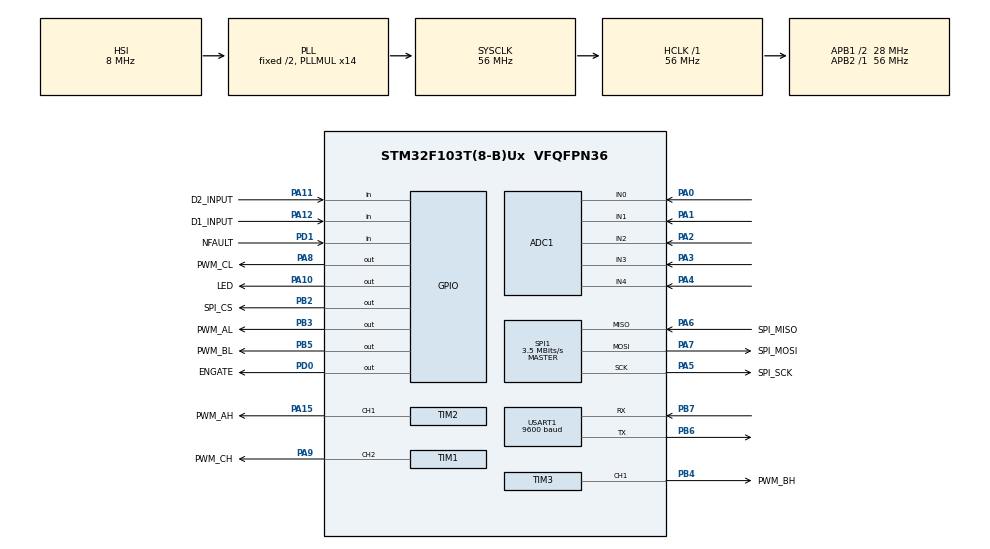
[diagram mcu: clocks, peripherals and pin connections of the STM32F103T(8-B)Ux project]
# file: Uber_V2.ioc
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ADC1.Channel-0\#ChannelRegularConversion=ADC_CHANNEL_4
ADC1.Channel-4\#ChannelRegularConversion=ADC_CHANNEL_3
ADC1.Channel-5\#ChannelRegularConversion=ADC_CHANNEL_2
ADC1.Channel-6\#ChannelRegularConversion=ADC_CHANNEL_1
ADC1.ContinuousConvMode=DISABLE
ADC1.ExternalTrigConv=ADC_EXTERNALTRIGCONV_T1_CC3
ADC1.NbrOfConversion=4
ADC1.NbrOfConversionFlag=1
ADC1.Rank-0\#ChannelRegularConversion=1
ADC1.Rank-4\#ChannelRegularConversion=2
ADC1.Rank-5\#ChannelRegularConversion=3
ADC1.Rank-6\#ChannelRegularConversion=4
ADC1.SamplingTime-0\#ChannelRegularConversion=ADC_SAMPLETIME_1CYCLE_5
ADC1.SamplingTime-4\#ChannelRegularConversion=ADC_SAMPLETIME_1CYCLE_5
ADC1.SamplingTime-5\#ChannelRegularConversion=ADC_SAMPLETIME_1CYCLE_5
ADC1.SamplingTime-6\#ChannelRegularConversion=ADC_SAMPLETIME_1CYCLE_5
ADC1.master=1
Dma.ADC1.0.Direction=DMA_PERIPH_TO_MEMORY
Dma.ADC1.0.Instance=DMA1_Channel1
Dma.ADC1.0.MemDataAlignment=DMA_MDATAALIGN_HALFWORD
Dma.ADC1.0.MemInc=DMA_MINC_ENABLE
Dma.ADC1.0.Mode=DMA_CIRCULAR
Dma.ADC1.0.PeriphDataAlignment=DMA_PDATAALIGN_HALFWORD
Dma.ADC1.0.PeriphInc=DMA_PINC_DISABLE
Dma.ADC1.0.Priority=DMA_PRIORITY_LOW
Dma.Request0=ADC1
Dma.Request1=USART1_RX
Dma.Request2=USART1_TX
Dma.USART1_RX.1.Direction=DMA_PERIPH_TO_MEMORY
Dma.USART1_RX.1.Instance=DMA1_Channel5
Dma.USART1_RX.1.MemDataAlignment=DMA_MDATAALIGN_BYTE
Dma.USART1_RX.1.MemInc=DMA_MINC_ENABLE
Dma.USART1_RX.1.Mode=DMA_NORMAL
Dma.USART1_RX.1.PeriphDataAlignment=DMA_PDATAALIGN_BYTE
Dma.USART1_RX.1.PeriphInc=DMA_PINC_DISABLE
Dma.USART1_RX.1.Priority=DMA_PRIORITY_LOW
Dma.USART1_TX.2.Direction=DMA_MEMORY_TO_PERIPH
Dma.USART1_TX.2.Instance=DMA1_Channel4
Dma.USART1_TX.2.MemDataAlignment=DMA_MDATAALIGN_BYTE
Dma.USART1_TX.2.MemInc=DMA_MINC_ENABLE
Dma.USART1_TX.2.Mode=DMA_NORMAL
Dma.USART1_TX.2.PeriphDataAlignment=DMA_PDATAALIGN_BYTE
Dma.USART1_TX.2.PeriphInc=DMA_PINC_DISABLE
Dma.USART1_TX.2.Priority=DMA_PRIORITY_LOW
Mcu.Family=STM32F1
Mcu.Name=STM32F103T(8-B)Ux
Mcu.Package=VFQFPN36
Mcu.UserConstants=PWM_PRESC,5-1;PWM_PERIOD,128
NVIC.DMA1_Channel1_IRQn=true\:0\:0\:false\:false\:true\:false\:true
NVIC.DMA1_Channel4_IRQn=true\:0\:0\:false\:false\:true\:false\:true
NVIC.DMA1_Channel5_IRQn=true\:0\:0\:false\:false\:true\:false\:true
NVIC.PriorityGroup=NVIC_PRIORITYGROUP_4
NVIC.TIM1_UP_IRQn=true\:0\:0\:false\:false\:true\:true\:true
NVIC.USART1_IRQn=true\:0\:0\:false\:false\:true\:true\:true
PA0-WKUP.Signal=ADCx_IN0
PA1.Signal=ADCx_IN1
PA10.GPIO_Label=LED
PA10.Signal=GPIO_Output
PA11.GPIO_Label=D2_INPUT
PA11.Signal=GPIO_Input
PA12.GPIO_Label=D1_INPUT
PA12.Signal=GPIO_Input
PA13.Mode=Serial_Wire
PA13.Signal=SYS_JTMS-SWDIO
PA14.Mode=Serial_Wire
PA14.Signal=SYS_JTCK-SWCLK
PA15.GPIO_Label=PWM_AH
PA15.Signal=S_TIM2_CH1_ETR
PA2.Signal=ADCx_IN2
PA3.Signal=ADCx_IN3
PA4.Signal=ADCx_IN4
PA5.GPIO_Label=SPI_SCK
PA5.Mode=Full_Duplex_Master
PA5.Signal=SPI1_SCK
PA6.GPIO_Label=SPI_MISO
PA6.Mode=Full_Duplex_Master
PA6.Signal=SPI1_MISO
PA7.GPIO_Label=SPI_MOSI
PA7.Mode=Full_Duplex_Master
PA7.Signal=SPI1_MOSI
PA8.GPIO_Label=PWM_CL
PA8.Signal=GPIO_Output
PA9.GPIO_Label=PWM_CH
PA9.Signal=S_TIM1_CH2
PB2.GPIO_Label=SPI_CS
PB2.Signal=GPIO_Output
PB3.GPIO_Label=PWM_AL
PB3.Signal=GPIO_Output
PB4.GPIO_Label=PWM_BH
PB4.Signal=S_TIM3_CH1
PB5.GPIO_Label=PWM_BL
PB5.Signal=GPIO_Output
PB6.Mode=Asynchronous
PB6.Signal=USART1_TX
PB7.Mode=Asynchronous
PB7.Signal=USART1_RX
PD0-OSC_IN.GPIO_Label=ENGATE
PD0-OSC_IN.Signal=GPIO_Output
PD1-OSC_OUT.GPIO_Label=NFAULT
PD1-OSC_OUT.Signal=GPIO_Input
ProjectManager.HeapSize=0x200
ProjectManager.StackSize=0x400
ProjectManager.TargetToolchain=STM32CubeIDE
RCC.ADCPresc=RCC_ADCPCLK2_DIV4
RCC.AHBFreq_Value=56000000
RCC.APB1CLKDivider=RCC_HCLK_DIV2
RCC.APB1Freq_Value=28000000
RCC.APB1TimFreq_Value=56000000
RCC.APB2Freq_Value=56000000
RCC.APB2TimFreq_Value=56000000
RCC.HCLKFreq_Value=56000000
RCC.PLLMUL=RCC_PLL_MUL14
RCC.SYSCLKFreq_VALUE=56000000
RCC.SYSCLKSource=RCC_SYSCLKSOURCE_PLLCLK
RCC.USBFreq_Value=56000000
SH.ADCx_IN0.0=ADC1_IN0,IN0
SH.ADCx_IN1.0=ADC1_IN1,IN1
SH.ADCx_IN2.0=ADC1_IN2,IN2
SH.ADCx_IN3.0=ADC1_IN3,IN3
SH.ADCx_IN4.0=ADC1_IN4,IN4
SH.S_TIM1_CH2.0=TIM1_CH2,PWM Generation2 CH2
SH.S_TIM2_CH1_ETR.0=TIM2_CH1,PWM Generation1 CH1
SH.S_TIM3_CH1.0=TIM3_CH1,PWM Generation1 CH1
SPI1.BaudRatePrescaler=SPI_BAUDRATEPRESCALER_16
SPI1.CLKPhase=SPI_PHASE_2EDGE
SPI1.CLKPolarity=SPI_POLARITY_LOW
SPI1.CalculateBaudRate=3.5 MBits/s
SPI1.DataSize=SPI_DATASIZE_16BIT
SPI1.Direction=SPI_DIRECTION_2LINES
SPI1.FirstBit=SPI_FIRSTBIT_MSB
SPI1.Mode=SPI_MODE_MASTER
SPI1.VirtualType=VM_MASTER
TIM1.Channel-PWM\ Generation2\ CH2=TIM_CHANNEL_2
TIM1.Channel-PWM\ Generation3\ No\ Output=TIM_CHANNEL_3
TIM1.CounterMode=TIM_COUNTERMODE_CENTERALIGNED1
TIM1.OCPolarity_3=TIM_OCPOLARITY_LOW
TIM1.Period=PWM_PERIOD
TIM1.Prescaler=PWM_PRESC
TIM1.TIM_MasterOutputTrigger=TIM_TRGO_OC3REF
TIM1.TIM_MasterSlaveMode=TIM_MASTERSLAVEMODE_DISABLE
TIM2.Channel-PWM\ Generation1\ CH1=TIM_CHANNEL_1
TIM2.CounterMode=TIM_COUNTERMODE_CENTERALIGNED1
TIM2.Period=PWM_PERIOD
TIM2.Prescaler=PWM_PRESC
TIM3.Channel-PWM\ Generation1\ CH1=TIM_CHANNEL_1
TIM3.CounterMode=TIM_COUNTERMODE_CENTERALIGNED1
TIM3.Period=PWM_PERIOD
TIM3.Prescaler=PWM_PRESC
TIM3.TIM_MasterOutputTrigger=TIM_TRGO_RESET
TIM4.Prescaler=0
TIM4.TIM_MasterOutputTrigger=TIM_TRGO_RESET
TIM4.TIM_MasterSlaveMode=TIM_MASTERSLAVEMODE_DISABLE
USART1.BaudRate=9600
USART1.VirtualMode=VM_ASYNC
VP_TIM1_VS_ClockSourceINT.Mode=Internal
VP_TIM1_VS_no_output3.Mode=PWM Generation3 No Output
VP_TIM2_VS_ClockSourceINT.Mode=Internal
VP_TIM3_VS_ClockSourceINT.Mode=Internal
VP_TIM4_VS_ClockSourceINT.Mode=Internal
board=custom

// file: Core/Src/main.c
/* USER CODE BEGIN Header */
/**
  ******************************************************************************
  * @file           : main.c
  * @brief          : Main program body
  ******************************************************************************
  * @attention
  *
  * <h2><center>&copy; Copyright (c) 2020 STMicroelectronics.
  * All rights reserved.</center></h2>
  *
  * This software component is licensed by ST under BSD 3-Clause license,
  * the "License"; You may not use this file except in compliance with the
  * License. You may obtain a copy of the License at:
  *                        opensource.org/licenses/BSD-3-Clause
  *
  ******************************************************************************
  */
/* USER CODE END Header */
#include "main.h"

/* USER CODE BEGIN Includes */
#include "DRV8305.h"
/* USER CODE END Includes */

/* USER CODE BEGIN PTD */
#define COLLECT_DATA	0	// 1 - Collection wil be performed, otherwise not.
#define SCOTTER_PROGRAM 0	// SCOTTER program

#define PHASE_A			1
#define PHASE_B			2
#define PHASE_C			3
#define STATE_LOW		0
#define STATE_HIGH		1
#define STATE_FLOATING	2
#define	STATE_F_LOW		2
#define	STATE_F_HIGH	3

#define SINGLE_DMA		1
#define MIN_TICKS  		0x0000000f
#define MAX_TICKS  		0x00ffffff
int IsDMA = 1;

#define SET_MOTOR_1_SPEED_FORWAD    	64   	// 0
#define SET_MOTOR_1_SPEED_BACK         	65   	// 1
#define	SET_MOTOR_1_SPEED_FORWAD_SEQ_1	66		// 2
#define SET_MOTOR_1_SPEED_BACK_SEQ_1	67		// 3
#define	SET_MOTOR_1_SPEED_FORWAD_SEQ_2	68		// 4
#define SET_MOTOR_1_SPEED_BACK_SEQ_2	69		// 5
#define	SET_MOTOR_1_SPEED_FORWAD_SEQ_3	70		// 6
#define SET_MOTOR_1_SPEED_BACK_SEQ_3	71		// 7
/* USER CODE END PTD */

ADC_HandleTypeDef hadc1;
DMA_HandleTypeDef hdma_adc1;

SPI_HandleTypeDef hspi1;

TIM_HandleTypeDef htim1;
TIM_HandleTypeDef htim2;
TIM_HandleTypeDef htim3;
TIM_HandleTypeDef htim4;

UART_HandleTypeDef huart1;
DMA_HandleTypeDef hdma_usart1_rx;
DMA_HandleTypeDef hdma_usart1_tx;

/* USER CODE BEGIN PV */
uint8_t buf[2] = {0, 0};
uint16_t ADC_data[4] = {0,0,0,0};	// try 16bit
uint16_t adc_val = 0;
//uint16_t data[4096];	// try 16bit
uint8_t tx_buffer[3] = {'O','K','!'};
uint8_t rx_buffer[3] = {0,0,0};
//uint32_t ADC_A[128];
//uint32_t ADC_B[128];
//uint32_t ADC_C[128];
//uint32_t ADC_DC[128];
uint8_t tim_num = 0;
//uint32_t TIM_A[64];
//uint32_t TIM_B[64];
//uint32_t TIM_C[64];
uint16_t data_num = 0;
TIM_OC_InitTypeDef TIM_LED = {0}, TIM_ADC = {0};
uint8_t ToSend[1] = {0};

uint8_t IsRunning = 0;
uint8_t IsBreaking = 0;
uint8_t Power = 0;
uint8_t Break = 0;
uint8_t Function = 0;

void StartPWM(){
	HAL_TIM_PWM_Start(&htim2, TIM_CHANNEL_1);
	//HAL_TIM_PWM_Start(&htim2, TIM_CHANNEL_2);
	HAL_TIM_PWM_Start(&htim3, TIM_CHANNEL_1);
	//HAL_TIM_PWM_Start(&htim3, TIM_CHANNEL_2);
	//HAL_TIM_PWM_Start(&htim1, TIM_CHANNEL_1);
	HAL_TIM_PWM_Start(&htim1, TIM_CHANNEL_2);
	HAL_TIM_PWM_Start(&htim1, TIM_CHANNEL_3);

	htim1.Instance->CNT = 0;
	htim2.Instance->CNT = 0;
	htim3.Instance->CNT = 0;
}

void SetZero_A(){
	__HAL_TIM_SET_COMPARE(&htim2, TIM_CHANNEL_1, 0);
	HAL_GPIO_WritePin(PWM_AL_GPIO_Port, PWM_AL_Pin, 1);
}

void SetZero_B(){
	__HAL_TIM_SET_COMPARE(&htim3, TIM_CHANNEL_1, 0);
	HAL_GPIO_WritePin(PWM_BL_GPIO_Port, PWM_BL_Pin, 1);
}

void SetZero_C(){
	__HAL_TIM_SET_COMPARE(&htim1, TIM_CHANNEL_2, 0);
	HAL_GPIO_WritePin(PWM_CL_GPIO_Port, PWM_CL_Pin, 1);
}

void SetPulse_AH(uint8_t value){
	__HAL_TIM_SET_COMPARE(&htim2, TIM_CHANNEL_1, value);
	HAL_GPIO_WritePin(PWM_AL_GPIO_Port, PWM_AL_Pin, 0);
}

void SetPulse_BH(uint8_t value){
	__HAL_TIM_SET_COMPARE(&htim3, TIM_CHANNEL_1, value);
	HAL_GPIO_WritePin(PWM_BL_GPIO_Port, PWM_BL_Pin, 0);
}

void SetPulse_CH(uint8_t value){
	__HAL_TIM_SET_COMPARE(&htim1, TIM_CHANNEL_2, value);
	HAL_GPIO_WritePin(PWM_CL_GPIO_Port, PWM_CL_Pin, 0);
}

void SetFloating_A(){
	__HAL_TIM_SET_COMPARE(&htim2, TIM_CHANNEL_1, 0);
	HAL_GPIO_WritePin(PWM_AL_GPIO_Port, PWM_AL_Pin, 0);
}

void SetFloating_B(){
	__HAL_TIM_SET_COMPARE(&htim3, TIM_CHANNEL_1, 0);
	HAL_GPIO_WritePin(PWM_BL_GPIO_Port, PWM_BL_Pin, 0);
}

void SetFloating_C(){
	__HAL_TIM_SET_COMPARE(&htim1, TIM_CHANNEL_2, 0);
	HAL_GPIO_WritePin(PWM_CL_GPIO_Port, PWM_CL_Pin, 0);
}

void Delay_Tick(uint32_t val){
	__HAL_TIM_SET_COUNTER(&htim4,0);
	while(val > 0x00007fff){
		val -= 0x00007fff;
		while(__HAL_TIM_GET_COUNTER(&htim4) < 0x7fff);
		__HAL_TIM_SET_COUNTER(&htim4,0);
	}
	while(__HAL_TIM_GET_COUNTER(&htim4) < val);
}

void SixStep(uint32_t Speed, uint16_t Value){
	// 1
	SetPulse_AH(Value);
	SetZero_B();
	SetFloating_C();
	Delay_Tick(Speed);
	//data[ data_num-1] = 0;
	//2
	SetPulse_AH(Value);
	SetFloating_B();
	SetZero_C();
	Delay_Tick(Speed);
	//data[ data_num-1] = 0;
	//3
	SetFloating_A();
	SetPulse_BH(Value);
	SetZero_C();
	Delay_Tick(Speed);
	//data[ data_num-1] = 0;
	//4
	SetZero_A();
	SetPulse_BH(Value);
	SetFloating_C();
	Delay_Tick(Speed);
	//data[ data_num-1] = 0;
	//5
	SetZero_A();
	SetFloating_B();
	SetPulse_CH(Value);
	Delay_Tick(Speed);
	//data[ data_num-1] = 0;
	//6
	SetFloating_A();
	SetZero_B();
	SetPulse_CH(Value);
	Delay_Tick(Speed);
	//data[ data_num-1] = 0;
	ToSend[0]++;
}

void SixStep_rev(uint32_t Speed, uint16_t Value){
	// 1
	SetPulse_CH(Value);
	SetZero_B();
	SetFloating_A();
	Delay_Tick(Speed);
	//data[ data_num-1] = 0;
	//2
	SetPulse_CH(Value);
	SetFloating_B();
	SetZero_A();
	Delay_Tick(Speed);
	//data[ data_num-1] = 0;
	//3
	SetFloating_C();
	SetPulse_BH(Value);
	SetZero_A();
	Delay_Tick(Speed);
	//data[ data_num-1] = 0;
	//4
	SetZero_C();
	SetPulse_BH(Value);
	SetFloating_A();
	Delay_Tick(Speed);
	//data[ data_num-1] = 0;
	//5
	SetZero_C();
	SetFloating_B();
	SetPulse_AH(Value);
	Delay_Tick(Speed);
	//data[ data_num-1] = 0;
	//6
	SetFloating_C();
	SetZero_B();
	SetPulse_AH(Value);
	Delay_Tick(Speed);
	//data[ data_num-1] = 0;
	ToSend[0]++;
}

uint32_t WaitForCross(uint8_t num, uint8_t val){
	__HAL_TIM_SET_COUNTER(&htim4,0);
	uint32_t ret_val = 0;

	while(ADC_data[num] > val+ADC_data[3]/2){
		if (__HAL_TIM_GET_COUNTER(&htim4) > 0x7fff){
			ret_val += __HAL_TIM_GET_COUNTER(&htim4);
			__HAL_TIM_SET_COUNTER(&htim4,0);
		}
		if((ret_val + __HAL_TIM_GET_COUNTER(&htim4) ) > MAX_TICKS){
			break;
		}
	}
	/*while(1){
		if (__HAL_TIM_GET_COUNTER(&htim4) > 0x7fff){
			ret_val += __HAL_TIM_GET_COUNTER(&htim4);
			__HAL_TIM_SET_COUNTER(&htim4,0);
		}
		if (IsNewVal == 1){
			if(ADC_data[num] < val+ADC_data[3]/2){

			}
			IsNewVal = 0;
		}
	}*/

	ret_val += __HAL_TIM_GET_COUNTER(&htim4);
	return ret_val;
}

uint32_t WaitForCross2(uint8_t num, uint8_t val){
	__HAL_TIM_SET_COUNTER(&htim4,0);
	uint32_t ret_val = 0;

	while(ADC_data[num] < val+ADC_data[3]/2){
		if (__HAL_TIM_GET_COUNTER(&htim4) > 0x7fff){
			ret_val += __HAL_TIM_GET_COUNTER(&htim4);
			__HAL_TIM_SET_COUNTER(&htim4,0);
		}
		if((ret_val + __HAL_TIM_GET_COUNTER(&htim4) ) > MAX_TICKS){
			break;
		}
	}

	ret_val += __HAL_TIM_GET_COUNTER(&htim4);
	return ret_val;
}

uint32_t BEMF_SixStep(uint16_t Value, uint16_t LastTicks){
	uint32_t ticks = 0;
	//uint8_t div = 2;
	////////////////////////////////////////////////////////// 1
	SetPulse_AH(Value);
	SetZero_B();
	SetFloating_C();
	ticks = WaitForCross(2,0);
	//Delay_Tick(ticks/div);
	if ((ticks > MAX_TICKS) || (ticks < MIN_TICKS)){
		SetFloating_A();
		SetFloating_B();
		SetFloating_C();
		HAL_Delay(100);
	}
	//data[ data_num-1] = 0;
	////////////////////////////////////////////////////////// 2
	SetPulse_AH(Value);
	SetFloating_B();
	SetZero_C();
	ticks = WaitForCross2(1,0);
	//Delay_Tick(ticks/div);
	if ((ticks > MAX_TICKS) || (ticks < MIN_TICKS)){
		SetFloating_A();
		SetFloating_B();
		SetFloating_C();
		HAL_Delay(100);
	}
	//data[ data_num-1] = 0;
	////////////////////////////////////////////////////////// 3
	SetFloating_A();
	SetPulse_BH(Value);
	SetZero_C();
	ticks = WaitForCross(0,0);
	//Delay_Tick(ticks/div);
	if ((ticks > MAX_TICKS) || (ticks < MIN_TICKS)){
		SetFloating_A();
		SetFloating_B();
		SetFloating_C();
		HAL_Delay(100);
	}
	//data[ data_num-1] = 0;
	////////////////////////////////////////////////////////// 4
	SetZero_A();
	SetPulse_BH(Value);
	SetFloating_C();
	ticks = WaitForCross2(2,0);
	//Delay_Tick(ticks/div);
	if ((ticks > MAX_TICKS) || (ticks < MIN_TICKS)){
		SetFloating_A();
		SetFloating_B();
		SetFloating_C();
		HAL_Delay(100);
	}
	//data[ data_num-1] = 0;
	////////////////////////////////////////////////////////// 5
	SetZero_A();
	SetFloating_B();
	SetPulse_CH(Value);
	ticks = WaitForCross(1,0);
	//Delay_Tick(ticks/div);
	if ((ticks > MAX_TICKS) || (ticks < MIN_TICKS)){
		SetFloating_A();
		SetFloating_B();
		SetFloating_C();
		HAL_Delay(100);
	}
	//data[ data_num-1] = 0;
	////////////////////////////////////////////////////////// 6
	SetFloating_A();
	SetZero_B();
	SetPulse_CH(Value);
	ticks = WaitForCross2(0,0);
	//Delay_Tick(ticks/div);
	if ((ticks > MAX_TICKS) || (ticks < MIN_TICKS)){
		SetFloating_A();
		SetFloating_B();
		SetFloating_C();
		HAL_Delay(100);
	}
	//data[ data_num-1] = 0;
	ToSend[0]++;
	return ticks;
}

uint32_t BEMF_SixStep_rev(uint16_t Value, uint16_t LastTicks){
	uint32_t ticks = 0;
	//uint8_t div = 2;
	////////////////////////////////////////////////////////// 1
	SetPulse_CH(Value);
	SetZero_B();
	SetFloating_A();
	ticks = WaitForCross(0,0);
	//Delay_Tick(ticks/div);
	if ((ticks > MAX_TICKS) || (ticks < MIN_TICKS)){
		SetFloating_A();
		SetFloating_B();
		SetFloating_C();
		HAL_Delay(100);
	}
	//data[ data_num-1] = 0;
	////////////////////////////////////////////////////////// 2
	SetPulse_CH(Value);
	SetFloating_B();
	SetZero_A();
	ticks = WaitForCross2(1,0);
	//Delay_Tick(ticks/div);
	if ((ticks > MAX_TICKS) || (ticks < MIN_TICKS)){
		SetFloating_A();
		SetFloating_B();
		SetFloating_C();
		HAL_Delay(100);
	}
	//data[ data_num-1] = 0;
	////////////////////////////////////////////////////////// 3
	SetFloating_C();
	SetPulse_BH(Value);
	SetZero_A();
	ticks = WaitForCross(2,0);
	//Delay_Tick(ticks/div);
	if ((ticks > MAX_TICKS) || (ticks < MIN_TICKS)){
		SetFloating_A();
		SetFloating_B();
		SetFloating_C();
		HAL_Delay(100);
	}
	//data[ data_num-1] = 0;
	////////////////////////////////////////////////////////// 4
	SetZero_C();
	SetPulse_BH(Value);
	SetFloating_A();
	ticks = WaitForCross2(0,0);
	//Delay_Tick(ticks/div);
	if ((ticks > MAX_TICKS) || (ticks < MIN_TICKS)){
		SetFloating_A();
		SetFloating_B();
		SetFloating_C();
		HAL_Delay(100);
	}
	//data[ data_num-1] = 0;
	////////////////////////////////////////////////////////// 5
	SetZero_C();
	SetFloating_B();
	SetPulse_AH(Value);
	ticks = WaitForCross(1,0);
	//Delay_Tick(ticks/div);
	if ((ticks > MAX_TICKS) || (ticks < MIN_TICKS)){
		SetFloating_A();
		SetFloating_B();
		SetFloating_C();
		HAL_Delay(100);
	}
	//data[ data_num-1] = 0;
	////////////////////////////////////////////////////////// 6
	SetFloating_C();
	SetZero_B();
	SetPulse_AH(Value);
	ticks = WaitForCross2(2,0);
	//Delay_Tick(ticks/div);
	if ((ticks > MAX_TICKS) || (ticks < MIN_TICKS)){
		SetFloating_A();
		SetFloating_B();
		SetFloating_C();
		HAL_Delay(100);
	}
	//data[ data_num-1] = 0;
	ToSend[0]++;
	return ticks;
}

uint32_t BEMF_SixStep_TEST(uint16_t Value, uint16_t LastTicks){
	float ticks = 0;
	float div = 6;//1.5;
	////////////////////////////////////////////////////////// 1
	if(rx_buffer[0] == 0) return;
	SetPulse_AH(Value);
	SetZero_B();
	SetFloating_C();
	ticks = LastTicks/2;	// 1/4
	Delay_Tick(ticks);
	ticks += WaitForCross(2,0);
	Delay_Tick(ticks/div);

	//data[ data_num-1] = 0;
	////////////////////////////////////////////////////////// 2
	if(rx_buffer[0] == 0) return;
	SetPulse_AH(Value);
	SetFloating_B();
	SetZero_C();
	ticks = ticks/2;	// 1/4
	Delay_Tick(ticks);
	ticks += WaitForCross2(1,0);	// 1/2
	Delay_Tick(ticks/div);

	//data[ data_num-1] = 0;
	////////////////////////////////////////////////////////// 3
	if(rx_buffer[0] == 0) return;
	SetFloating_A();
	SetPulse_BH(Value);
	SetZero_C();
	ticks = ticks/2;	// 1/4
	Delay_Tick(ticks);
	ticks += WaitForCross(0,0);
	Delay_Tick(ticks/div);

	//data[ data_num-1] = 0;
	////////////////////////////////////////////////////////// 4
	if(rx_buffer[0] == 0) return;
	SetZero_A();
	SetPulse_BH(Value);
	SetFloating_C();
	ticks = ticks/2;	// 1/4
	Delay_Tick(ticks);
	ticks += WaitForCross2(2,0);
	Delay_Tick(ticks/div);

	//data[ data_num-1] = 0;
	////////////////////////////////////////////////////////// 5
	if(rx_buffer[0] == 0) return;
	SetZero_A();
	SetFloating_B();
	SetPulse_CH(Value);
	ticks = ticks/2;	// 1/4
	Delay_Tick(ticks);
	ticks += WaitForCross(1,0);
	Delay_Tick(ticks/div);

	//data[ data_num-1] = 0;
	////////////////////////////////////////////////////////// 6
	if(rx_buffer[0] == 0) return;
	SetFloating_A();
	SetZero_B();
	SetPulse_CH(Value);
	ticks = ticks/2;	// 1/4
	Delay_Tick(ticks);
	ticks += WaitForCross2(0,0);
	Delay_Tick(ticks/div);

	//data[ data_num-1] = 0;
	ToSend[0]++;
	return ticks;
}

uint32_t BEMF_SixStep_TEST_rev(uint16_t Value, uint16_t LastTicks){
	float ticks = 0;
	float div = 6;//1.5;
	////////////////////////////////////////////////////////// 1
	if(rx_buffer[0] == 0) return;
	SetPulse_CH(Value);
	SetZero_B();
	SetFloating_A();
	ticks = LastTicks/2;	// 1/4
	Delay_Tick(ticks);
	ticks += WaitForCross(0,0);
	Delay_Tick(ticks/div);

	//data[ data_num-1] = 0;
	////////////////////////////////////////////////////////// 2
	if(rx_buffer[0] == 0) return;
	SetPulse_CH(Value);
	SetFloating_B();
	SetZero_A();
	ticks = ticks/2;	// 1/4
	Delay_Tick(ticks);
	ticks += WaitForCross2(1,0);	// 1/2
	Delay_Tick(ticks/div);

	//data[ data_num-1] = 0;
	////////////////////////////////////////////////////////// 3
	if(rx_buffer[0] == 0) return;
	SetFloating_C();
	SetPulse_BH(Value);
	SetZero_A();
	ticks = ticks/2;	// 1/4
	Delay_Tick(ticks);
	ticks += WaitForCross(2,0);
	Delay_Tick(ticks/div);

	//data[ data_num-1] = 0;
	////////////////////////////////////////////////////////// 4
	if(rx_buffer[0] == 0) return;
	SetZero_C();
	SetPulse_BH(Value);
	SetFloating_A();
	ticks = ticks/2;	// 1/4
	Delay_Tick(ticks);
	ticks += WaitForCross2(0,0);
	Delay_Tick(ticks/div);

	//data[ data_num-1] = 0;
	////////////////////////////////////////////////////////// 5
	if(rx_buffer[0] == 0) return;
	SetZero_C();
	SetFloating_B();
	SetPulse_AH(Value);
	ticks = ticks/2;	// 1/4
	Delay_Tick(ticks);
	ticks += WaitForCross(1,0);
	Delay_Tick(ticks/div);

	//data[ data_num-1] = 0;
	////////////////////////////////////////////////////////// 6
	if(rx_buffer[0] == 0) return;
	SetFloating_C();
	SetZero_B();
	SetPulse_AH(Value);
	ticks = ticks/2;	// 1/4
	Delay_Tick(ticks);
	ticks += WaitForCross2(2,0);
	Delay_Tick(ticks/div);

	//data[ data_num-1] = 0;
	ToSend[0]++;
	return ticks;
}

uint8_t test = 0;
void HAL_TIM_TriggerCallback(TIM_HandleTypeDef *htim){
	test = __HAL_TIM_GET_COUNTER(&htim1);
	if(htim->Instance == TIM1){
		if(htim->Channel == HAL_TIM_ACTIVE_CHANNEL_3){
			test = __HAL_TIM_GET_COUNTER(&htim1);
			test = __HAL_TIM_GET_COUNTER(&htim1);
		}
	}
}
uint8_t IsNewVal = 0;
void WaitForRise(uint8_t Phase){
	while(1){
		if(IsNewVal){
			if(ADC_data[Phase] > ADC_data[3]/2) return;
		}
	}
}

void WaitForFall(uint8_t Phase){
	while(1){
		if(IsNewVal){
			if(ADC_data[Phase] < ADC_data[3]/2) return;
		}
	}
}
int cnt = 0;
void HAL_ADC_ConvCpltCallback(ADC_HandleTypeDef* hadc){
	// Collect data
	uint8_t div = 1;
	if(COLLECT_DATA == 1){
		if((data_num < (4096-4)) && cnt >= div){

			//data[data_num] = ADC_data[0];
			data_num++;
			//data[data_num] = ADC_data[1];
			data_num++;
			//data[data_num] = ADC_data[2];
			data_num++;
			//data[data_num] = ADC_data[3];
			data_num++;
			cnt = 0;
		}
		if((tim_num < (64-4))){
			//TIM_B[tim_num] = __HAL_TIM_GET_COUNTER(&htim3);
			//TIM_C[tim_num] = __HAL_TIM_GET_COUNTER(&htim1);
			//TIM_A[tim_num] = __HAL_TIM_GET_COUNTER(&htim2);
			tim_num++;
		}
	}
	IsNewVal = 1;
	cnt ++;
}

// Po odebraniu danych z UART + DMA wyowulje sie przerwanie
void HAL_UART_RxCpltCallback(UART_HandleTypeDef *huart){
	HAL_GPIO_TogglePin(LED_GPIO_Port, LED_Pin);
	HAL_UART_Receive_DMA(&huart1, rx_buffer, 2);		// Chcemy obierac dalej
	HAL_UART_Transmit_DMA(&huart1, ToSend, 1);			// Odsylamy warrtosc obrotow
	ToSend[0] = 0;										// resetujemy zmienna obrotow
	if ((rx_buffer[0] == 0) || rx_buffer[1] ==0){		// Zatrzymanie awaryjne
		SetFloating_A();
		SetFloating_B();
		SetFloating_C();
	}
}

void Accelerate_01(uint8_t Value, uint8_t Speed){		// Chinczyk - Value = 8; Speed = 0x0007ffff;
	for (; Speed > 0x0000ffff; Speed = Speed - 0x00001fff){		// 1
		SixStep(Speed, Value);
	}

	//
	for (; Speed > 0x00006fff; Speed = Speed - 0x000001ff){		// 1
		SixStep(Speed, Value);
	}
	for (; Speed > 0x00006000; Speed = Speed - 0x0000000f){		// 1
		SixStep(Speed, Value);
	}
	for (; Speed > 0x00005000; Speed = Speed - 0x00000001){		// 1
		SixStep(Speed, Value);
	}
}

/* USER CODE END PV */

void SystemClock_Config(void);
static void MX_GPIO_Init(void);
static void MX_DMA_Init(void);
static void MX_ADC1_Init(void);
static void MX_SPI1_Init(void);
static void MX_TIM1_Init(void);
static void MX_TIM3_Init(void);
static void MX_TIM2_Init(void);
static void MX_USART1_UART_Init(void);
static void MX_TIM4_Init(void);

/* USER CODE BEGIN 0 */
/*

*/
/* USER CODE END 0 */

int main(void)
{

  /* MCU Configuration--------------------------------------------------------*/

  /* Reset of all peripherals, Initializes the Flash interface and the Systick. */
  HAL_Init();

  /* Configure the system clock */
  SystemClock_Config();

  /* Initialize all configured peripherals */
  MX_GPIO_Init();
  MX_DMA_Init();
  MX_ADC1_Init();
  MX_SPI1_Init();
  MX_TIM1_Init();
  MX_TIM3_Init();
  MX_TIM2_Init();
  MX_USART1_UART_Init();
  MX_TIM4_Init();
  /* USER CODE BEGIN 2 */
  HAL_GPIO_WritePin(ENGATE_GPIO_Port, ENGATE_Pin, 0);
  HAL_GPIO_WritePin(SPI_CS_GPIO_Port, SPI_CS_Pin, 1);

  DRV_Init(hspi1);

  HAL_TIM_Base_Start(&htim4);

  HAL_GPIO_WritePin(LED_GPIO_Port, LED_Pin, 0);		// LED

  StartPWM();

  HAL_UART_Receive_DMA(&huart1, rx_buffer, 2);

  //HAL_UART_Transmit_DMA(&huart1, tx_buffer, 3);
  HAL_Delay(1);
  /* USER CODE END 2 */

  /* Infinite loop */
  /* USER CODE BEGIN WHILE */

  uint16_t ValueArray[10] = {0x0002,0x0003,0x0003,0x0003,0x0003,0x0003,0x0003,0x0003,0x0003,0x0003};
  uint16_t SpeedArray[10] = {0xff00,0xf800,0xf000,0x8000,0x0fff,0x0ff0,0x0f00,0x0800,0x00ff,0x00f0};
  uint8_t Presc = 8;
  uint16_t Value = Presc;
  uint32_t Speed = 0x0007ffff;

  HAL_GPIO_WritePin(LED_GPIO_Port, LED_Pin, 1);
  HAL_Delay(500);
  HAL_GPIO_WritePin(LED_GPIO_Port, LED_Pin, 0);
  HAL_Delay(3000);

  HAL_GPIO_WritePin(ENGATE_GPIO_Port, ENGATE_Pin, 0);
  HAL_ADC_Start_DMA(&hadc1, ADC_data, 4);		// Po konwersji ADC, DMA zapisuje odczyty
  __HAL_TIM_SET_COMPARE(&htim1, TIM_CHANNEL_3, 8);
  HAL_TIM_PWM_Start_IT(&htim1, TIM_CHANNEL_3);	// Pulse wyzwala ADC

// WSTAWKA 0.25A
  /*
	uint8_t send1[2] = {0x78,(5 << 3) + 0x3};			// Read command, MSB is shifted in and out first
	HAL_GPIO_WritePin(SPI_CS_GPIO_Port, SPI_CS_Pin, 0);
	uint8_t res = HAL_SPI_TransmitReceive(&hspi1, send1, buf, 2, 1000);
	HAL_GPIO_WritePin(SPI_CS_GPIO_Port, SPI_CS_Pin, 1);

	Delay_Tick(0x0f);

	uint8_t send2[2] = {0x78,(6 << 3) + 0x3};
	HAL_GPIO_WritePin(SPI_CS_GPIO_Port, SPI_CS_Pin, 0);
	res = HAL_SPI_TransmitReceive(&hspi1, send2, buf, 2, 1000);
	HAL_GPIO_WritePin(SPI_CS_GPIO_Port, SPI_CS_Pin, 1);
*/

	/*
	  __HAL_TIM_SET_COMPARE(&htim1, TIM_CHANNEL_3, 0);

	SetFloating_A();
	SetFloating_B();
	SetFloating_C();
	  HAL_GPIO_WritePin(ENGATE_GPIO_Port, ENGATE_Pin, 0);

*/
	//Speed = Speed - 0x0ff;
		  //Speed = SpeedArray[a];
		  //Value = ValueArray[a];
  //}
  IsDMA = 1;
__HAL_TIM_SET_COMPARE(&htim1, TIM_CHANNEL_3, 3);
uint16_t ticks = MIN_TICKS;

///////////////////////
if(COLLECT_DATA == 1){
	HAL_GPIO_WritePin(ENGATE_GPIO_Port, ENGATE_Pin, 1);
	int c = 0;
	int val = 8;
	Speed = 0x00070000;
	for (; Speed > 0x00030000; Speed -= 0x00001fff){		// 1
		SixStep(Speed, val);
		++c;
		if (c == 4){
			++val;
			c = 0;
		}
	}
	// Reset Stored Values
	data_num = 0;
	cnt = 0;
	tim_num = 0;
	for (; Speed > 0x00006000; Speed = Speed - 0x00000fff){		// 1
		SixStep(Speed, val);
	}
	val+=8;
while(1)SixStep(Speed, val);

	uint16_t New_data[4096];
	for (int a = 0; a < 4096; a ++){
		//New_data[a] = data[a];
	}

	HAL_GPIO_WritePin(ENGATE_GPIO_Port, ENGATE_Pin, 0);
	SetFloating_A();
	SetFloating_B();
	SetFloating_C();
	IsRunning = 0;
}

///////////////////////
ticks = MIN_TICKS;

while (1){

	if(SCOTTER_PROGRAM){
		Break = 0;
		if (HAL_GPIO_ReadPin(D1_INPUT_GPIO_Port, D1_INPUT_Pin) == 1){
			Break += 1;
		}
		if (HAL_GPIO_ReadPin(D2_INPUT_GPIO_Port, D2_INPUT_Pin) == 1){
			Break += 1;
		}
		if (Break > 0){
			IsBreaking = 1;
			Power = 0;
			ticks = MIN_TICKS;
			HAL_GPIO_WritePin(ENGATE_GPIO_Port, ENGATE_Pin, 1);
			if(IsRunning) {			// Gdy hamujemy z jazdy to synchronizujący delay
				IsRunning = 0;
				SetFloating_A();
				SetFloating_B();
				SetFloating_C();
				HAL_Delay(10);
			}
			SetZero_A();
			SetZero_B();
			SetZero_C();
			HAL_Delay(Break);
			SetFloating_A();
			SetFloating_B();
			SetFloating_C();
			HAL_Delay(4-Break);
			continue;
		}

		if(IsBreaking) {
			SetFloating_A();
			SetFloating_B();
			SetFloating_C();
			HAL_Delay(10);
			IsBreaking = 0;
		}
		//HAL_ADC_Start(&hadc2); // start the adc
		//HAL_ADC_PollForConversion(&hadc2, 100); // poll for conversion
		//rx_buffer[0] = rx_buffer[1] = Power = adc_val = HAL_ADC_GetValue(&hadc2)/32; // get the adc value
		//HAL_ADC_Stop(&hadc2); // stop adc
		if (Power < 28) Power = 0;
		if (Power > 128-28) Power = 128;
		if (Power > 0){
			// Kręcimy normalnie								// Kręcimy do przodu
			HAL_GPIO_WritePin(ENGATE_GPIO_Port, ENGATE_Pin, 1);
			ticks = BEMF_SixStep_TEST(Power, ticks);
			IsRunning = 1;
		}else {
			HAL_GPIO_WritePin(ENGATE_GPIO_Port, ENGATE_Pin, 0);
			SetFloating_A();
			SetFloating_B();
			SetFloating_C();
			IsRunning = 0;
			ticks = MIN_TICKS;
		}
		continue;
	}
	Power = rx_buffer[1];
	//HAL_Delay(1);
	if(Power == 0){								// wartosc = 0, stop
		HAL_GPIO_WritePin(ENGATE_GPIO_Port, ENGATE_Pin, 0);
		SetFloating_A();
		SetFloating_B();
		SetFloating_C();
		IsRunning = 0;
		ticks = MIN_TICKS;
		Function = rx_buffer[0];				// Zmiana funkcji jest mzliwa jedynie gdy silnik stoi
		if (SCOTTER_PROGRAM) HAL_Delay(10);		// Synchronizujący delay
	}else if(Function >= 64){					// Jezeli to funkcja z jakas wartoscia
		HAL_GPIO_WritePin(ENGATE_GPIO_Port, ENGATE_Pin, 1);
		if (Power < 28) Power = 28;				// Zabezpieczenie by nie dac sygnalo krotszego niz obsluguje sterownik
		else if (Power > 128-28) Power = 128;	// Zabezpieczenie by nie dac sygnalo krotszego niz obsluguje sterownik

		if (IsRunning == 0){					// Startujemy
			int Speed;
			int cnt = 0;
			int val = 8;
			switch (Function){
			case SET_MOTOR_1_SPEED_FORWAD_SEQ_1: {
				// Sekwencja rozruchowa dla silnika: TAROT_SZYBKI
				Speed = 0x00070000;
				for (; Speed > 0x00030000; Speed -= 0x00001fff){		// 1
					SixStep(Speed, val);
					++cnt;
					if (cnt == 4){
						++val;
						cnt = 0;
					}
				}

				for (; Speed > 0x00006000; Speed = Speed - 0x00000fff){		// 1
					SixStep(Speed, val);
				}
				break;
			}
			case SET_MOTOR_1_SPEED_BACK_SEQ_1: {
				// Sekwencja rozruchowa dla silnika: TAROT_SZYBKI
				Speed = 0x00070000;
				for (; Speed > 0x00030000; Speed -= 0x00001fff){		// 1
					SixStep_rev(Speed, val);
					++cnt;
					if (cnt == 4){
						++val;
						cnt = 0;
					}
				}

				for (; Speed > 0x00006000; Speed = Speed - 0x00000fff){		// 1
					SixStep_rev(Speed, val);
				}
				break;
			}
			case SET_MOTOR_1_SPEED_FORWAD_SEQ_2: {
				break;
			}
			case SET_MOTOR_1_SPEED_BACK_SEQ_2: {
				break;
			}
			case SET_MOTOR_1_SPEED_FORWAD_SEQ_3: {
				break;
			}
			case SET_MOTOR_1_SPEED_BACK_SEQ_3: {
				break;
			}
			default: {
				// Błąd
			}
			}
		}
		// Kręcimy normalnie
		if(Function % 2 == 1){					// Kręcimy do tylu
			ticks = BEMF_SixStep_TEST_rev(Power, ticks);

		}else{									// Kręcimy do przodu
			ticks = BEMF_SixStep_TEST(Power, ticks);
		}

		IsRunning = 1;
	} else {								// Nie funkcja z wartoscia -> Bład
		HAL_GPIO_WritePin(ENGATE_GPIO_Port, ENGATE_Pin, 0);
		SetFloating_A();
		SetFloating_B();
		SetFloating_C();
		IsRunning = 0;
		ticks = MIN_TICKS;
	}

    /* USER CODE END WHILE */

    /* USER CODE BEGIN 3 */

	  //PWMCL.Pulse =  PWMCL.Pulse - 1;
	  //HAL_TIM_PWM_ConfigChannel(&htim1, &PWMCL, TIM_CHANNEL_1);
	  //HAL_TIM_PWM_Start(&htim1, TIM_CHANNEL_1);

	  //uint8_t test[2] = {0,2};
	  //DRV_Write(IC_OPERATION, test);
/*
	  for(int a = 1; a < 7; a++){
		  //HAL_Delay(1);
		  //DRV_Read(a, buf);

		  	uint8_t send[2] = {0,(a << 3) + 0x80};			// Read command, MSB is shifted in and out first
		  	HAL_GPIO_WritePin(SPI_CS_GPIO_Port, SPI_CS_Pin, 0);
		  	//HAL_Delay(1);
		  	//Delay_Tick(0x0f);
		  	uint8_t res = HAL_SPI_TransmitReceive(&hspi1, send, buf, 2, 1000);
		  	//HAL_Delay(1);
		  	//Delay_Tick(0x0f);
		  	HAL_GPIO_WritePin(SPI_CS_GPIO_Port, SPI_CS_Pin, 1);
		  	//HAL_Delay(1);

	  }
	  */

  }
  /* USER CODE END 3 */
}

void SystemClock_Config(void)
{
  RCC_OscInitTypeDef RCC_OscInitStruct = {0};
  RCC_ClkInitTypeDef RCC_ClkInitStruct = {0};
  RCC_PeriphCLKInitTypeDef PeriphClkInit = {0};

  /** Initializes the RCC Oscillators according to the specified parameters
  * in the RCC_OscInitTypeDef structure.
  */
  RCC_OscInitStruct.OscillatorType = RCC_OSCILLATORTYPE_HSI;
  RCC_OscInitStruct.HSIState = RCC_HSI_ON;
  RCC_OscInitStruct.HSICalibrationValue = RCC_HSICALIBRATION_DEFAULT;
  RCC_OscInitStruct.PLL.PLLState = RCC_PLL_ON;
  RCC_OscInitStruct.PLL.PLLSource = RCC_PLLSOURCE_HSI_DIV2;
  RCC_OscInitStruct.PLL.PLLMUL = RCC_PLL_MUL14;
  if (HAL_RCC_OscConfig(&RCC_OscInitStruct) != HAL_OK)
  {
    Error_Handler();
  }
  /** Initializes the CPU, AHB and APB buses clocks
  */
  RCC_ClkInitStruct.ClockType = RCC_CLOCKTYPE_HCLK|RCC_CLOCKTYPE_SYSCLK
                              |RCC_CLOCKTYPE_PCLK1|RCC_CLOCKTYPE_PCLK2;
  RCC_ClkInitStruct.SYSCLKSource = RCC_SYSCLKSOURCE_PLLCLK;
  RCC_ClkInitStruct.AHBCLKDivider = RCC_SYSCLK_DIV1;
  RCC_ClkInitStruct.APB1CLKDivider = RCC_HCLK_DIV2;
  RCC_ClkInitStruct.APB2CLKDivider = RCC_HCLK_DIV1;

  if (HAL_RCC_ClockConfig(&RCC_ClkInitStruct, FLASH_LATENCY_2) != HAL_OK)
  {
    Error_Handler();
  }
  PeriphClkInit.PeriphClockSelection = RCC_PERIPHCLK_ADC;
  PeriphClkInit.AdcClockSelection = RCC_ADCPCLK2_DIV4;
  if (HAL_RCCEx_PeriphCLKConfig(&PeriphClkInit) != HAL_OK)
  {
    Error_Handler();
  }
}

static void MX_ADC1_Init(void)
{

  ADC_ChannelConfTypeDef sConfig = {0};

  /** Common config
  */
  hadc1.Instance = ADC1;
  hadc1.Init.ScanConvMode = ADC_SCAN_ENABLE;
  hadc1.Init.ContinuousConvMode = DISABLE;
  hadc1.Init.DiscontinuousConvMode = DISABLE;
  hadc1.Init.ExternalTrigConv = ADC_EXTERNALTRIGCONV_T1_CC3;
  hadc1.Init.DataAlign = ADC_DATAALIGN_RIGHT;
  hadc1.Init.NbrOfConversion = 4;
  if (HAL_ADC_Init(&hadc1) != HAL_OK)
  {
    Error_Handler();
  }
  /** Configure Regular Channel
  */
  sConfig.Channel = ADC_CHANNEL_4;
  sConfig.Rank = ADC_REGULAR_RANK_1;
  sConfig.SamplingTime = ADC_SAMPLETIME_1CYCLE_5;
  if (HAL_ADC_ConfigChannel(&hadc1, &sConfig) != HAL_OK)
  {
    Error_Handler();
  }
  /** Configure Regular Channel
  */
  sConfig.Channel = ADC_CHANNEL_3;
  sConfig.Rank = ADC_REGULAR_RANK_2;
  if (HAL_ADC_ConfigChannel(&hadc1, &sConfig) != HAL_OK)
  {
    Error_Handler();
  }
  /** Configure Regular Channel
  */
  sConfig.Channel = ADC_CHANNEL_2;
  sConfig.Rank = ADC_REGULAR_RANK_3;
  if (HAL_ADC_ConfigChannel(&hadc1, &sConfig) != HAL_OK)
  {
    Error_Handler();
  }
  /** Configure Regular Channel
  */
  sConfig.Channel = ADC_CHANNEL_1;
  sConfig.Rank = ADC_REGULAR_RANK_4;
  if (HAL_ADC_ConfigChannel(&hadc1, &sConfig) != HAL_OK)
  {
    Error_Handler();
  }

}

static void MX_SPI1_Init(void)
{

  /* SPI1 parameter configuration*/
  hspi1.Instance = SPI1;
  hspi1.Init.Mode = SPI_MODE_MASTER;
  hspi1.Init.Direction = SPI_DIRECTION_2LINES;
  hspi1.Init.DataSize = SPI_DATASIZE_16BIT;
  hspi1.Init.CLKPolarity = SPI_POLARITY_LOW;
  hspi1.Init.CLKPhase = SPI_PHASE_2EDGE;
  hspi1.Init.NSS = SPI_NSS_SOFT;
  hspi1.Init.BaudRatePrescaler = SPI_BAUDRATEPRESCALER_16;
  hspi1.Init.FirstBit = SPI_FIRSTBIT_MSB;
  hspi1.Init.TIMode = SPI_TIMODE_DISABLE;
  hspi1.Init.CRCCalculation = SPI_CRCCALCULATION_DISABLE;
  hspi1.Init.CRCPolynomial = 10;
  if (HAL_SPI_Init(&hspi1) != HAL_OK)
  {
    Error_Handler();
  }

}

static void MX_TIM1_Init(void)
{

  TIM_ClockConfigTypeDef sClockSourceConfig = {0};
  TIM_MasterConfigTypeDef sMasterConfig = {0};
  TIM_OC_InitTypeDef sConfigOC = {0};
  TIM_BreakDeadTimeConfigTypeDef sBreakDeadTimeConfig = {0};

  htim1.Instance = TIM1;
  htim1.Init.Prescaler = PWM_PRESC;
  htim1.Init.CounterMode = TIM_COUNTERMODE_CENTERALIGNED1;
  htim1.Init.Period = PWM_PERIOD;
  htim1.Init.ClockDivision = TIM_CLOCKDIVISION_DIV1;
  htim1.Init.RepetitionCounter = 0;
  htim1.Init.AutoReloadPreload = TIM_AUTORELOAD_PRELOAD_DISABLE;
  if (HAL_TIM_Base_Init(&htim1) != HAL_OK)
  {
    Error_Handler();
  }
  sClockSourceConfig.ClockSource = TIM_CLOCKSOURCE_INTERNAL;
  if (HAL_TIM_ConfigClockSource(&htim1, &sClockSourceConfig) != HAL_OK)
  {
    Error_Handler();
  }
  if (HAL_TIM_PWM_Init(&htim1) != HAL_OK)
  {
    Error_Handler();
  }
  sMasterConfig.MasterOutputTrigger = TIM_TRGO_OC3REF;
  sMasterConfig.MasterSlaveMode = TIM_MASTERSLAVEMODE_DISABLE;
  if (HAL_TIMEx_MasterConfigSynchronization(&htim1, &sMasterConfig) != HAL_OK)
  {
    Error_Handler();
  }
  sConfigOC.OCMode = TIM_OCMODE_PWM1;
  sConfigOC.Pulse = 0;
  sConfigOC.OCPolarity = TIM_OCPOLARITY_HIGH;
  sConfigOC.OCNPolarity = TIM_OCNPOLARITY_HIGH;
  sConfigOC.OCFastMode = TIM_OCFAST_DISABLE;
  sConfigOC.OCIdleState = TIM_OCIDLESTATE_RESET;
  sConfigOC.OCNIdleState = TIM_OCNIDLESTATE_RESET;
  if (HAL_TIM_PWM_ConfigChannel(&htim1, &sConfigOC, TIM_CHANNEL_2) != HAL_OK)
  {
    Error_Handler();
  }
  sConfigOC.OCPolarity = TIM_OCPOLARITY_LOW;
  if (HAL_TIM_PWM_ConfigChannel(&htim1, &sConfigOC, TIM_CHANNEL_3) != HAL_OK)
  {
    Error_Handler();
  }
  sBreakDeadTimeConfig.OffStateRunMode = TIM_OSSR_DISABLE;
  sBreakDeadTimeConfig.OffStateIDLEMode = TIM_OSSI_DISABLE;
  sBreakDeadTimeConfig.LockLevel = TIM_LOCKLEVEL_OFF;
  sBreakDeadTimeConfig.DeadTime = 0;
  sBreakDeadTimeConfig.BreakState = TIM_BREAK_DISABLE;
  sBreakDeadTimeConfig.BreakPolarity = TIM_BREAKPOLARITY_HIGH;
  sBreakDeadTimeConfig.AutomaticOutput = TIM_AUTOMATICOUTPUT_DISABLE;
  if (HAL_TIMEx_ConfigBreakDeadTime(&htim1, &sBreakDeadTimeConfig) != HAL_OK)
  {
    Error_Handler();
  }
  HAL_TIM_MspPostInit(&htim1);

}

static void MX_TIM2_Init(void)
{

  TIM_ClockConfigTypeDef sClockSourceConfig = {0};
  TIM_MasterConfigTypeDef sMasterConfig = {0};
  TIM_OC_InitTypeDef sConfigOC = {0};

  htim2.Instance = TIM2;
  htim2.Init.Prescaler = PWM_PRESC;
  htim2.Init.CounterMode = TIM_COUNTERMODE_CENTERALIGNED1;
  htim2.Init.Period = PWM_PERIOD;
  htim2.Init.ClockDivision = TIM_CLOCKDIVISION_DIV1;
  htim2.Init.AutoReloadPreload = TIM_AUTORELOAD_PRELOAD_DISABLE;
  if (HAL_TIM_Base_Init(&htim2) != HAL_OK)
  {
    Error_Handler();
  }
  sClockSourceConfig.ClockSource = TIM_CLOCKSOURCE_INTERNAL;
  if (HAL_TIM_ConfigClockSource(&htim2, &sClockSourceConfig) != HAL_OK)
  {
    Error_Handler();
  }
  if (HAL_TIM_PWM_Init(&htim2) != HAL_OK)
  {
    Error_Handler();
  }
  sMasterConfig.MasterOutputTrigger = TIM_TRGO_RESET;
  sMasterConfig.MasterSlaveMode = TIM_MASTERSLAVEMODE_DISABLE;
  if (HAL_TIMEx_MasterConfigSynchronization(&htim2, &sMasterConfig) != HAL_OK)
  {
    Error_Handler();
  }
  sConfigOC.OCMode = TIM_OCMODE_PWM1;
  sConfigOC.Pulse = 0;
  sConfigOC.OCPolarity = TIM_OCPOLARITY_HIGH;
  sConfigOC.OCFastMode = TIM_OCFAST_DISABLE;
  if (HAL_TIM_PWM_ConfigChannel(&htim2, &sConfigOC, TIM_CHANNEL_1) != HAL_OK)
  {
    Error_Handler();
  }
  HAL_TIM_MspPostInit(&htim2);

}

static void MX_TIM3_Init(void)
{

  TIM_ClockConfigTypeDef sClockSourceConfig = {0};
  TIM_MasterConfigTypeDef sMasterConfig = {0};
  TIM_OC_InitTypeDef sConfigOC = {0};

  htim3.Instance = TIM3;
  htim3.Init.Prescaler = PWM_PRESC;
  htim3.Init.CounterMode = TIM_COUNTERMODE_CENTERALIGNED1;
  htim3.Init.Period = PWM_PERIOD;
  htim3.Init.ClockDivision = TIM_CLOCKDIVISION_DIV1;
  htim3.Init.AutoReloadPreload = TIM_AUTORELOAD_PRELOAD_DISABLE;
  if (HAL_TIM_Base_Init(&htim3) != HAL_OK)
  {
    Error_Handler();
  }
  sClockSourceConfig.ClockSource = TIM_CLOCKSOURCE_INTERNAL;
  if (HAL_TIM_ConfigClockSource(&htim3, &sClockSourceConfig) != HAL_OK)
  {
    Error_Handler();
  }
  if (HAL_TIM_PWM_Init(&htim3) != HAL_OK)
  {
    Error_Handler();
  }
  sMasterConfig.MasterOutputTrigger = TIM_TRGO_RESET;
  sMasterConfig.MasterSlaveMode = TIM_MASTERSLAVEMODE_DISABLE;
  if (HAL_TIMEx_MasterConfigSynchronization(&htim3, &sMasterConfig) != HAL_OK)
  {
    Error_Handler();
  }
  sConfigOC.OCMode = TIM_OCMODE_PWM1;
  sConfigOC.Pulse = 0;
  sConfigOC.OCPolarity = TIM_OCPOLARITY_HIGH;
  sConfigOC.OCFastMode = TIM_OCFAST_DISABLE;
  if (HAL_TIM_PWM_ConfigChannel(&htim3, &sConfigOC, TIM_CHANNEL_1) != HAL_OK)
  {
    Error_Handler();
  }
  HAL_TIM_MspPostInit(&htim3);

}

static void MX_TIM4_Init(void)
{

  TIM_ClockConfigTypeDef sClockSourceConfig = {0};
  TIM_MasterConfigTypeDef sMasterConfig = {0};

  htim4.Instance = TIM4;
  htim4.Init.Prescaler = 0;
  htim4.Init.CounterMode = TIM_COUNTERMODE_UP;
  htim4.Init.Period = 65535;
  htim4.Init.ClockDivision = TIM_CLOCKDIVISION_DIV1;
  htim4.Init.AutoReloadPreload = TIM_AUTORELOAD_PRELOAD_DISABLE;
  if (HAL_TIM_Base_Init(&htim4) != HAL_OK)
  {
    Error_Handler();
  }
  sClockSourceConfig.ClockSource = TIM_CLOCKSOURCE_INTERNAL;
  if (HAL_TIM_ConfigClockSource(&htim4, &sClockSourceConfig) != HAL_OK)
  {
    Error_Handler();
  }
  sMasterConfig.MasterOutputTrigger = TIM_TRGO_RESET;
  sMasterConfig.MasterSlaveMode = TIM_MASTERSLAVEMODE_DISABLE;
  if (HAL_TIMEx_MasterConfigSynchronization(&htim4, &sMasterConfig) != HAL_OK)
  {
    Error_Handler();
  }

}

static void MX_USART1_UART_Init(void)
{

  huart1.Instance = USART1;
  huart1.Init.BaudRate = 9600;
  huart1.Init.WordLength = UART_WORDLENGTH_8B;
  huart1.Init.StopBits = UART_STOPBITS_1;
  huart1.Init.Parity = UART_PARITY_NONE;
  huart1.Init.Mode = UART_MODE_TX_RX;
  huart1.Init.HwFlowCtl = UART_HWCONTROL_NONE;
  huart1.Init.OverSampling = UART_OVERSAMPLING_16;
  if (HAL_UART_Init(&huart1) != HAL_OK)
  {
    Error_Handler();
  }

}

static void MX_DMA_Init(void)
{

  /* DMA controller clock enable */
  __HAL_RCC_DMA1_CLK_ENABLE();

  /* DMA interrupt init */
  /* DMA1_Channel1_IRQn interrupt configuration */
  HAL_NVIC_SetPriority(DMA1_Channel1_IRQn, 0, 0);
  HAL_NVIC_EnableIRQ(DMA1_Channel1_IRQn);
  /* DMA1_Channel4_IRQn interrupt configuration */
  HAL_NVIC_SetPriority(DMA1_Channel4_IRQn, 0, 0);
  HAL_NVIC_EnableIRQ(DMA1_Channel4_IRQn);
  /* DMA1_Channel5_IRQn interrupt configuration */
  HAL_NVIC_SetPriority(DMA1_Channel5_IRQn, 0, 0);
  HAL_NVIC_EnableIRQ(DMA1_Channel5_IRQn);

}

static void MX_GPIO_Init(void)
{
  GPIO_InitTypeDef GPIO_InitStruct = {0};

  /* GPIO Ports Clock Enable */
  __HAL_RCC_GPIOD_CLK_ENABLE();
  __HAL_RCC_GPIOA_CLK_ENABLE();
  __HAL_RCC_GPIOB_CLK_ENABLE();

  /*Configure GPIO pin Output Level */
  HAL_GPIO_WritePin(ENGATE_GPIO_Port, ENGATE_Pin, GPIO_PIN_RESET);

  /*Configure GPIO pin Output Level */
  HAL_GPIO_WritePin(GPIOB, SPI_CS_Pin|PWM_AL_Pin|PWM_BL_Pin, GPIO_PIN_RESET);

  /*Configure GPIO pin Output Level */
  HAL_GPIO_WritePin(GPIOA, PWM_CL_Pin|LED_Pin, GPIO_PIN_RESET);

  /*Configure GPIO pin : ENGATE_Pin */
  GPIO_InitStruct.Pin = ENGATE_Pin;
  GPIO_InitStruct.Mode = GPIO_MODE_OUTPUT_PP;
  GPIO_InitStruct.Pull = GPIO_NOPULL;
  GPIO_InitStruct.Speed = GPIO_SPEED_FREQ_LOW;
  HAL_GPIO_Init(ENGATE_GPIO_Port, &GPIO_InitStruct);

  /*Configure GPIO pin : NFAULT_Pin */
  GPIO_InitStruct.Pin = NFAULT_Pin;
  GPIO_InitStruct.Mode = GPIO_MODE_INPUT;
  GPIO_InitStruct.Pull = GPIO_NOPULL;
  HAL_GPIO_Init(NFAULT_GPIO_Port, &GPIO_InitStruct);

  /*Configure GPIO pins : SPI_CS_Pin PWM_AL_Pin PWM_BL_Pin */
  GPIO_InitStruct.Pin = SPI_CS_Pin|PWM_AL_Pin|PWM_BL_Pin;
  GPIO_InitStruct.Mode = GPIO_MODE_OUTPUT_PP;
  GPIO_InitStruct.Pull = GPIO_NOPULL;
  GPIO_InitStruct.Speed = GPIO_SPEED_FREQ_LOW;
  HAL_GPIO_Init(GPIOB, &GPIO_InitStruct);

  /*Configure GPIO pins : PWM_CL_Pin LED_Pin */
  GPIO_InitStruct.Pin = PWM_CL_Pin|LED_Pin;
  GPIO_InitStruct.Mode = GPIO_MODE_OUTPUT_PP;
  GPIO_InitStruct.Pull = GPIO_NOPULL;
  GPIO_InitStruct.Speed = GPIO_SPEED_FREQ_LOW;
  HAL_GPIO_Init(GPIOA, &GPIO_InitStruct);

  /*Configure GPIO pins : D2_INPUT_Pin D1_INPUT_Pin */
  GPIO_InitStruct.Pin = D2_INPUT_Pin|D1_INPUT_Pin;
  GPIO_InitStruct.Mode = GPIO_MODE_INPUT;
  GPIO_InitStruct.Pull = GPIO_NOPULL;
  HAL_GPIO_Init(GPIOA, &GPIO_InitStruct);

  /*Configure peripheral I/O remapping */
  __HAL_AFIO_REMAP_PD01_ENABLE();

}

void Error_Handler(void)
{
}

/************************ (C) COPYRIGHT STMicroelectronics *****END OF FILE****/
